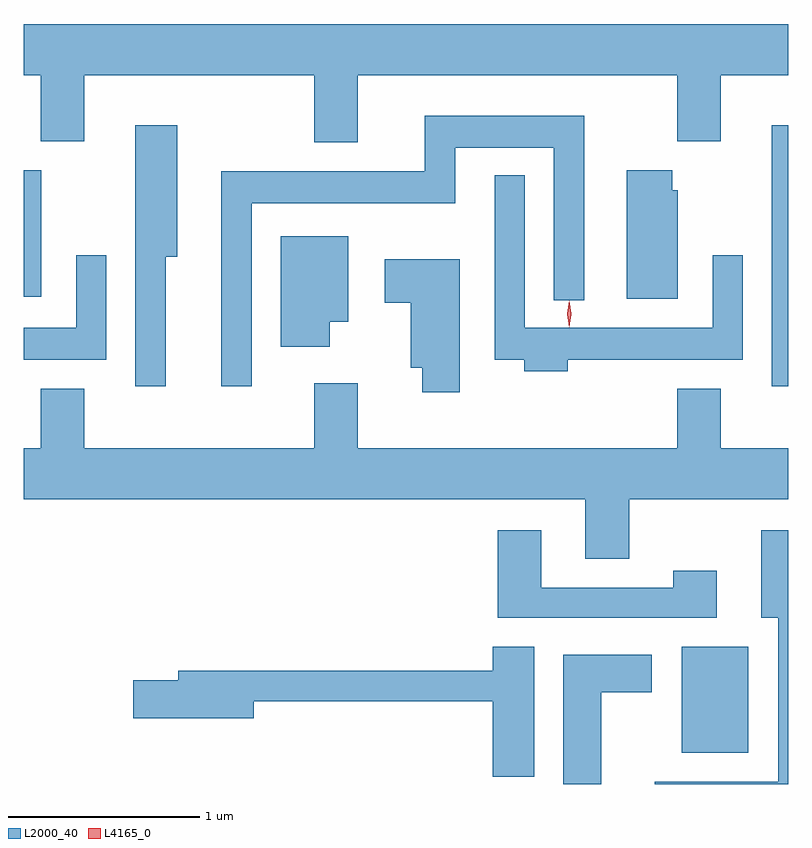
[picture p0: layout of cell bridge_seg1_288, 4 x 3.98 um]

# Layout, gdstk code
import gdstk
lib = gdstk.Library(unit=1e-6, precision=1e-09)
def R(c, l, rs):  # rectangles x0, y0, x1, y1
    for r in rs: c.add(gdstk.rectangle(r[:2], r[2:], *l))
def P(c, l, *ps):  # polygons
    for p in ps: c.add(gdstk.Polygon(p, *l))
L2000_40 = (2000, 40)
L4165_0 = (4165, 0)

bridge_seg1_288 = lib.new_cell('bridge_seg1_288')
R(bridge_seg1_288, L2000_40, [(845.286,893.811,845.634,894.364), (845.756,895.728,845.842,897.094), (841.842,896.196,841.934,896.859)])
P(bridge_seg1_288, L2000_40, [(843.589,897.356),(845.261,897.356),(845.261,897.011),(845.489,897.011),(845.489,897.356),(845.842,897.356),(845.842,897.624),(841.842,897.624),(841.842,897.356),(841.931,897.356),(841.931,897.011),(842.159,897.011),(842.159,897.356),(843.361,897.356),(843.361,897.006),(843.589,897.006)],
  [(843.034,896.686),(844.099,896.686),(844.099,896.976),(844.616,896.976),(844.616,896.178),(844.774,896.178),(844.774,897.144),(843.941,897.144),(843.941,896.854),(842.876,896.854),(842.876,895.728),(843.034,895.728)],
  [(842.584,896.406),(842.644,896.406),(842.644,897.094),(842.426,897.094),(842.426,895.728),(842.584,895.728)],
  [(845.264,896.754),(845.234,896.754),(845.234,896.859),(844.996,896.859),(844.996,896.186),(845.264,896.186)],
  [(844.689,895.866),(845.604,895.866),(845.604,896.413),(845.446,896.413),(845.446,896.034),(844.464,896.034),(844.464,896.833),(844.306,896.833),(844.306,895.866),(844.461,895.866),(844.461,895.806),(844.689,895.806)],
  [(843.444,896.066),(843.539,896.066),(843.539,896.514),(843.186,896.514),(843.186,895.936),(843.444,895.936)],
  [(842.274,896.413),(842.116,896.413),(842.116,896.034),(841.842,896.034),(841.842,895.866),(842.274,895.866)],
  [(844.124,896.394),(843.731,896.394),(843.731,896.166),(843.866,896.166),(843.866,895.826),(843.926,895.826),(843.926,895.696),(844.124,895.696)],
  [(845.009,895.136),(845.842,895.136),(845.842,895.404),(845.489,895.404),(845.489,895.714),(845.261,895.714),(845.261,895.404),(843.589,895.404),(843.589,895.744),(843.361,895.744),(843.361,895.404),(842.159,895.404),(842.159,895.714),(841.931,895.714),(841.931,895.404),(841.842,895.404),(841.842,895.136),(844.781,895.136),(844.781,894.826),(845.009,894.826)],
  [(845.469,894.764),(845.241,894.764),(845.241,894.674),(844.549,894.674),(844.549,894.974),(844.321,894.974),(844.321,894.516),(845.469,894.516)],
  [(845.842,894.974),(845.701,894.974),(845.701,894.516),(845.791,894.516),(845.791,893.659),(845.143,893.659),(845.143,893.647),(845.842,893.647)],
  [(844.514,894.364),(844.296,894.364),(844.296,894.239),(842.651,894.239),(842.651,894.189),(842.416,894.189),(842.416,893.991),(843.044,893.991),(843.044,894.081),(844.296,894.081),(844.296,893.686),(844.514,893.686)],
  [(844.864,894.126),(845.129,894.126),(845.129,894.324),(844.666,894.324),(844.666,893.647),(844.864,893.647)])
P(bridge_seg1_288, L4165_0, [(844.696,896.037),(844.687,896.107),(844.696,896.176),(844.697,896.176),(844.697,896.176),(844.707,896.107),(844.697,896.037),(844.697,896.037)],
  [(844.697,896.039),(844.696,896.04),(844.687,896.106),(844.696,896.172),(844.697,896.173),(844.697,896.172),(844.707,896.106),(844.697,896.04)])

lib.write_gds('bridge_seg1_288.gds')
